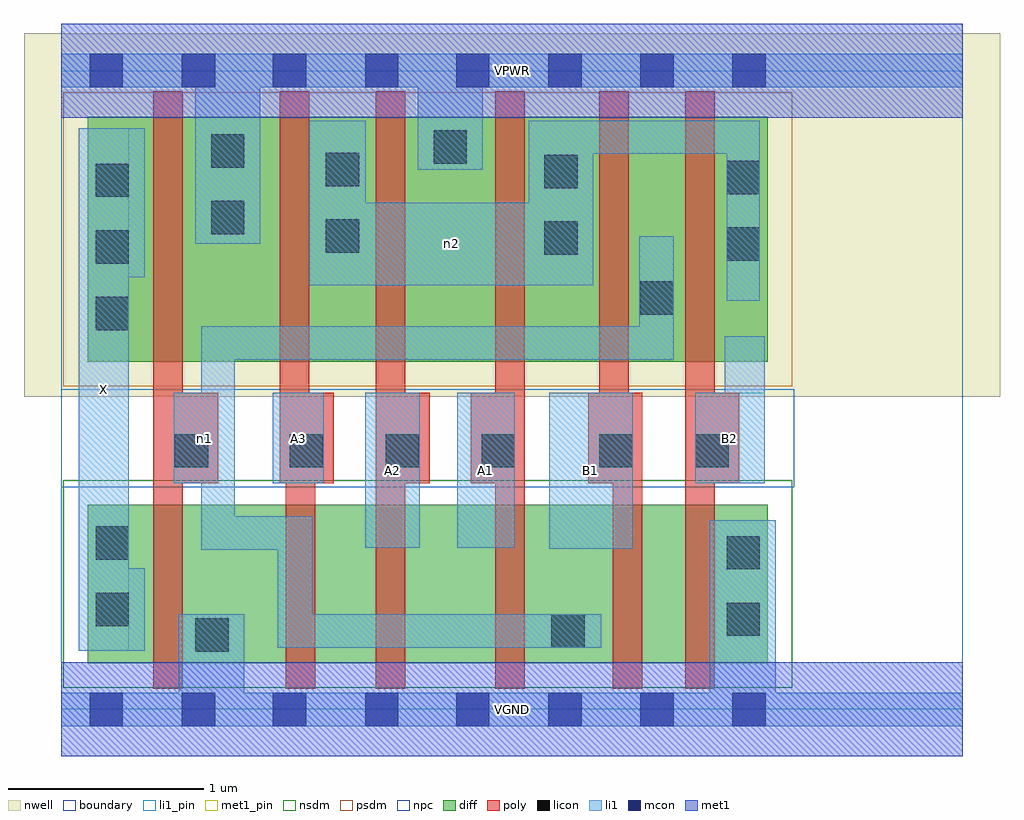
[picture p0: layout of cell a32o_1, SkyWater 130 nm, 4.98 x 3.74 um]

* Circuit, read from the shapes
.subckt a32o_1 A1 A2 A3 B1 B2 VGND VPWR X n1 n2
XM1 VGND n1 X VSUBS sky130_fd_pr__nfet_01v8 w=0.81 l=0.15
XM2 n3 A3 VGND VSUBS sky130_fd_pr__nfet_01v8 w=0.81 l=0.15
XM3 n4 A2 n3 VSUBS sky130_fd_pr__nfet_01v8 w=0.81 l=0.15
XM4 n1 A1 n4 VSUBS sky130_fd_pr__nfet_01v8 w=0.81 l=0.15
XM5 n5 B1 n1 VSUBS sky130_fd_pr__nfet_01v8 w=0.81 l=0.15
XM6 VGND B2 n5 VSUBS sky130_fd_pr__nfet_01v8 w=0.81 l=0.15
XM7 VPWR n1 X n6 sky130_fd_pr__pfet_01v8 w=1.25 l=0.15
XM8 n2 A3 VPWR n6 sky130_fd_pr__pfet_01v8 w=1.25 l=0.15
XM9 VPWR A2 n2 n6 sky130_fd_pr__pfet_01v8 w=1.25 l=0.15
XM10 n2 A1 VPWR n6 sky130_fd_pr__pfet_01v8 w=1.25 l=0.15
XM11 n1 B1 n2 n6 sky130_fd_pr__pfet_01v8 w=1.25 l=0.15
XM12 n2 B2 n1 n6 sky130_fd_pr__pfet_01v8 w=1.25 l=0.15
.ends

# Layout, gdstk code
import gdstk
lib = gdstk.Library(unit=1e-6, precision=1e-09)
def R(c, l, rs):  # rectangles x0, y0, x1, y1
    for r in rs: c.add(gdstk.rectangle(r[:2], r[2:], *l))
def A(c, l, x, y, w, h, nx, ny, dx, dy):  # array of equal rectangles
    R(c, l, [(x+i*dx, y+j*dy, x+i*dx+w, y+j*dy+h) for i in range(nx) for j in range(ny)])
nwell = (64, 20)
diff = (65, 20)
poly = (66, 20)
licon = (66, 44)
li1_pin = (67, 16)
li1 = (67, 20)
mcon = (67, 44)
met1_pin = (68, 16)
met1 = (68, 20)
nsdm = (93, 44)
psdm = (94, 20)
npc = (95, 20)
boundary = (235, 4)

a32o_1 = lib.new_cell('a32o_1')
R(a32o_1, nwell, [(-0.19,1.595,4.79,3.45), (0,1.595,4.6,3.45)])
R(a32o_1, diff, [(0.135,0.235,3.605,1.045), (0.135,1.775,3.605,3.025)])
R(a32o_1, poly, [(0.47,0.105,0.62,3.155), (1.145,0.105,1.295,1.615), (1.605,0.105,1.755,3.155), (2.215,0.105,2.365,3.155), (2.815,0.105,2.965,1.615), (3.185,0.105,3.335,3.155), (0.47,1.155,0.8,1.615), (1.115,1.155,1.265,3.155), (1.115,1.155,1.39,1.615), (1.605,1.155,1.88,1.615), (2.09,1.155,2.365,1.615), (2.69,1.155,2.965,1.615), (2.745,1.155,2.895,3.155), (3.185,1.155,3.46,1.615)])
A(a32o_1, licon, 1.165, 1.235, 0.17, 0.17, 3, 1, 0.49, 0)
A(a32o_1, licon, 0.175, 1.935, 0.17, 0.17, 1, 3, 0, 0.34)
R(a32o_1, licon, [(0.685,0.295,0.855,0.465), (2.5,0.315,2.67,0.485), (3.395,0.375,3.565,0.545), (0.175,0.425,0.345,0.595), (3.395,0.715,3.565,0.885), (0.175,0.765,0.345,0.935), (0.58,1.235,0.75,1.405), (2.745,1.235,2.915,1.405), (3.235,1.235,3.405,1.405), (2.955,2.015,3.125,2.185), (3.395,2.29,3.565,2.46), (2.465,2.32,2.635,2.49), (1.35,2.33,1.52,2.5), (0.765,2.425,0.935,2.595), (3.395,2.63,3.565,2.8), (2.465,2.66,2.635,2.83), (1.35,2.67,1.52,2.84), (0.765,2.765,0.935,2.935), (1.9,2.785,2.07,2.955)])
R(a32o_1, li1_pin, [(0.09,0.3,0.345,2.965), (2.49,0.82,2.915,1.615), (1.55,0.825,1.83,1.615), (2.02,0.825,2.315,1.615), (1.08,1.155,1.34,1.615), (3.235,1.155,3.59,1.615)])
R(a32o_1, li1, [(0,-0.085,4.6,0.085), (0.6,-0.085,0.935,0.485), (3.31,-0.085,3.645,0.965), (0.09,0.3,0.345,2.965), (0.09,0.3,0.425,0.72), (1.105,0.315,2.755,0.485), (1.105,0.315,1.28,0.985), (0.715,0.815,0.885,1.955), (0.715,0.815,1.28,0.985), (2.49,0.82,2.915,1.615), (1.55,0.825,1.83,1.615), (2.02,0.825,2.315,1.615), (0.575,1.155,0.885,1.615), (1.08,1.155,1.34,1.615), (3.235,1.155,3.59,1.615), (3.385,1.155,3.59,1.905), (0.715,1.785,3.125,1.955), (2.95,1.785,3.125,2.415), (3.395,2.085,3.565,3.005), (1.265,2.165,2.715,2.585), (1.265,2.165,1.555,3.005), (2.385,2.165,2.715,3.005), (0.09,2.205,0.425,2.965), (0.685,2.375,1.015,3.345), (1.82,2.755,2.15,3.345), (2.385,2.835,3.565,3.005), (0,3.175,4.6,3.345)])
A(a32o_1, mcon, 2.015, -0.085, 0.17, 0.17, 4, 2, 0.47, 3.26)
R(a32o_1, mcon, [(0.145,-0.085,0.315,0.085), (0.615,-0.085,0.785,0.085), (1.08,-0.085,1.25,0.085), (1.55,-0.085,1.72,0.085), (0.145,3.175,0.315,3.345), (0.615,3.175,0.785,3.345), (1.08,3.175,1.25,3.345), (1.55,3.175,1.72,3.345)])
R(a32o_1, met1_pin, [(0,-0.24,4.6,0.24), (0,3.02,4.6,3.5)])
R(a32o_1, met1, [(0,-0.24,4.6,0.24), (0,3.02,4.6,3.5)])
R(a32o_1, nsdm, [(0.01,0.11,3.73,1.17)])
R(a32o_1, psdm, [(0.01,1.65,3.73,3.15)])
R(a32o_1, npc, [(0,1.135,3.74,1.635)])
R(a32o_1, boundary, [(0,0,4.6,3.26)])
a32o_1.add(gdstk.Label('A1', (2.167,1.22), layer=67, texttype=5))
a32o_1.add(gdstk.Label('A2', (1.69,1.22), layer=67, texttype=5))
a32o_1.add(gdstk.Label('A3', (1.21,1.385), layer=67, texttype=5))
a32o_1.add(gdstk.Label('B1', (2.702,1.217), layer=67, texttype=5))
a32o_1.add(gdstk.Label('B2', (3.412,1.385), layer=67, texttype=5))
a32o_1.add(gdstk.Label('X', (0.217,1.632), layer=67, texttype=5))
a32o_1.add(gdstk.Label('n1', (0.73,1.385), layer=67, texttype=5))
a32o_1.add(gdstk.Label('n2', (1.99,2.375), layer=67, texttype=5))
a32o_1.add(gdstk.Label('VPWR', (2.3,3.26), layer=68, texttype=5))
a32o_1.add(gdstk.Label('VGND', (2.3,0), layer=68, texttype=5))
a32o_1.add(gdstk.Label('A1', (2.167,1.22), layer=67, texttype=16))
a32o_1.add(gdstk.Label('A2', (1.69,1.22), layer=67, texttype=16))
a32o_1.add(gdstk.Label('A3', (1.21,1.385), layer=67, texttype=16))
a32o_1.add(gdstk.Label('B1', (2.702,1.217), layer=67, texttype=16))
a32o_1.add(gdstk.Label('B2', (3.412,1.385), layer=67, texttype=16))
a32o_1.add(gdstk.Label('X', (0.217,1.632), layer=67, texttype=16))
a32o_1.add(gdstk.Label('VPWR', (2.3,3.26), layer=68, texttype=16))
a32o_1.add(gdstk.Label('VGND', (2.3,0), layer=68, texttype=16))

lib.write_gds('a32o_1.gds')
